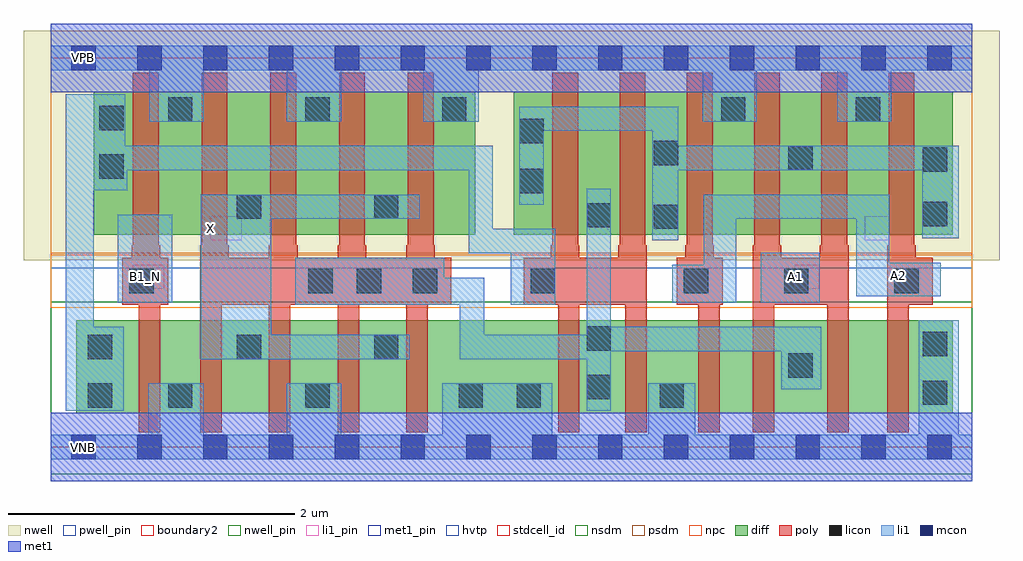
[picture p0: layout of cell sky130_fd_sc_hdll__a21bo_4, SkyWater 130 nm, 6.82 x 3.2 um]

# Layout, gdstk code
import gdstk
lib = gdstk.Library(unit=1e-6, precision=1e-09)
def R(c, l, rs):  # rectangles x0, y0, x1, y1
    for r in rs: c.add(gdstk.rectangle(r[:2], r[2:], *l))
def A(c, l, x, y, w, h, nx, ny, dx, dy):  # array of equal rectangles
    R(c, l, [(x+i*dx, y+j*dy, x+i*dx+w, y+j*dy+h) for i in range(nx) for j in range(ny)])
def P(c, l, *ps):  # polygons
    for p in ps: c.add(gdstk.Polygon(p, *l))
nwell_pin = (64, 16)
nwell = (64, 20)
diff = (65, 20)
poly = (66, 20)
licon = (66, 44)
li1_pin = (67, 16)
li1 = (67, 20)
mcon = (67, 44)
met1_pin = (68, 16)
met1 = (68, 20)
hvtp = (78, 44)
stdcell_id = (81, 4)
nsdm = (93, 44)
psdm = (94, 20)
npc = (95, 20)
pwell_pin = (122, 16)
boundary2 = (236, 0)

sky130_fd_sc_hdll__a21bo = lib.new_cell('sky130_fd_sc_hdll__a21bo_4')
R(sky130_fd_sc_hdll__a21bo, nwell_pin, [(0.145,2.635,0.315,2.805)])
R(sky130_fd_sc_hdll__a21bo, nwell, [(-0.19,1.305,6.63,2.91)])
R(sky130_fd_sc_hdll__a21bo, diff, [(0.18,0.235,6.305,0.885), (0.3,1.485,2.965,2.485), (3.235,1.485,6.305,2.485)])
P(sky130_fd_sc_hdll__a21bo, poly, [(0.82,1.325),(0.765,1.325),(0.765,1.41),(0.755,1.41),(0.755,2.615),(0.575,2.615),(0.575,1.41),(0.565,1.41),(0.565,1.325),(0.5,1.325),(0.5,0.995),(0.615,0.995),(0.615,0.105),(0.765,0.105),(0.765,0.995),(0.82,0.995)],
  [(2.8,1.325),(2.685,1.325),(2.685,1.41),(2.675,1.41),(2.675,2.615),(2.495,2.615),(2.495,1.41),(2.485,1.41),(2.485,1.325),(2.205,1.325),(2.205,1.41),(2.195,1.41),(2.195,2.615),(2.015,2.615),(2.015,1.41),(2.005,1.41),(2.005,1.325),(1.725,1.325),(1.725,1.41),(1.715,1.41),(1.715,2.615),(1.535,2.615),(1.535,1.41),(1.525,1.41),(1.525,1.325),(1.245,1.325),(1.245,1.41),(1.235,1.41),(1.235,2.615),(1.055,2.615),(1.055,1.41),(1.045,1.41),(1.045,0.105),(1.195,0.105),(1.195,0.995),(1.525,0.995),(1.525,0.105),(1.675,0.105),(1.675,0.995),(2.005,0.995),(2.005,0.105),(2.155,0.105),(2.155,0.995),(2.485,0.995),(2.485,0.105),(2.635,0.105),(2.635,0.995),(2.8,0.995)],
  [(4.165,1.41),(4.155,1.41),(4.155,2.615),(3.975,2.615),(3.975,1.41),(3.965,1.41),(3.965,1.325),(3.695,1.325),(3.695,1.41),(3.685,1.41),(3.685,2.615),(3.505,2.615),(3.505,1.41),(3.495,1.41),(3.495,1.325),(3.305,1.325),(3.305,0.995),(3.545,0.995),(3.545,0.105),(3.695,0.105),(3.695,0.995),(4.015,0.995),(4.015,0.105),(4.165,0.105)],
  [(4.695,1.325),(4.635,1.325),(4.635,1.41),(4.625,1.41),(4.625,2.615),(4.445,2.615),(4.445,1.41),(4.435,1.41),(4.435,1.325),(4.375,1.325),(4.375,0.995),(4.525,0.995),(4.525,0.105),(4.675,0.105),(4.675,0.995),(4.695,0.995)],
  [(5.575,1.41),(5.565,1.41),(5.565,2.615),(5.385,2.615),(5.385,1.41),(5.375,1.41),(5.375,1.325),(5.105,1.325),(5.105,1.41),(5.095,1.41),(5.095,2.615),(4.915,2.615),(4.915,1.41),(4.905,1.41),(4.905,0.105),(5.055,0.105),(5.055,0.995),(5.425,0.995),(5.425,0.105),(5.575,0.105)],
  [(6.165,1.325),(6.045,1.325),(6.045,1.41),(6.035,1.41),(6.035,2.615),(5.855,2.615),(5.855,1.41),(5.845,1.41),(5.845,0.105),(5.995,0.105),(5.995,0.995),(6.165,0.995)])
R(sky130_fd_sc_hdll__a21bo, licon, [(0.26,0.275,0.43,0.445), (0.82,0.275,0.99,0.445), (1.78,0.275,1.95,0.445), (2.85,0.275,3.02,0.445), (3.255,0.275,3.425,0.445), (4.255,0.275,4.425,0.445), (6.095,0.295,6.265,0.465), (3.745,0.335,3.915,0.505), (5.155,0.485,5.325,0.655), (0.26,0.615,0.43,0.785), (1.3,0.615,1.47,0.785), (2.26,0.615,2.43,0.785), (6.095,0.635,6.265,0.805), (3.745,0.675,3.915,0.845), (0.55,1.075,0.72,1.245), (1.8,1.075,1.97,1.245), (2.14,1.075,2.31,1.245), (2.53,1.075,2.7,1.245), (3.355,1.075,3.525,1.245), (4.425,1.075,4.595,1.245), (5.125,1.075,5.295,1.245), (5.895,1.075,6.065,1.245), (4.215,1.525,4.385,1.695), (3.745,1.535,3.915,1.705), (6.095,1.545,6.265,1.715), (1.3,1.595,1.47,1.765), (2.26,1.595,2.43,1.765), (3.275,1.775,3.445,1.945), (0.34,1.875,0.51,2.045), (6.095,1.925,6.265,2.095), (5.155,1.935,5.325,2.105), (4.215,1.97,4.385,2.14), (3.275,2.125,3.445,2.295), (0.34,2.215,0.51,2.385), (0.82,2.275,0.99,2.445), (1.78,2.275,1.95,2.445), (2.735,2.275,2.905,2.445), (4.685,2.275,4.855,2.445), (5.625,2.275,5.795,2.445)])
R(sky130_fd_sc_hdll__a21bo, li1_pin, [(0.575,1.105,0.795,1.275), (5.2,1.105,5.37,1.275), (1.115,1.445,1.335,1.615), (5.69,1.445,5.86,1.615)])
R(sky130_fd_sc_hdll__a21bo, li1, [(0.47,1.01,0.85,1.625), (4.96,1.01,5.375,1.36)])
P(sky130_fd_sc_hdll__a21bo, li1, [(6.44,0.085),(6.345,0.085),(6.345,0.885),(6.065,0.885),(6.065,0.085),(4.505,0.085),(4.505,0.445),(4.175,0.445),(4.175,0.085),(3.505,0.085),(3.505,0.445),(2.735,0.445),(2.735,0.085),(2.03,0.085),(2.03,0.445),(1.65,0.445),(1.65,0.085),(1.07,0.085),(1.07,0.445),(0.68,0.445),(0.68,0.085),(0,0.085),(0,-0.085),(6.44,-0.085)],
  [(6.44,2.805),(0,2.805),(0,2.635),(0.69,2.635),(0.69,2.275),(1.07,2.275),(1.07,2.635),(1.65,2.635),(1.65,2.275),(2.03,2.275),(2.03,2.635),(2.605,2.635),(2.605,2.275),(2.99,2.275),(2.99,2.635),(4.555,2.635),(4.555,2.275),(4.935,2.275),(4.935,2.635),(5.495,2.635),(5.495,2.275),(5.875,2.275),(5.875,2.635),(6.44,2.635)],
  [(2.58,1.765),(1.05,1.765),(1.05,0.615),(2.51,0.615),(2.51,0.785),(1.54,0.785),(1.54,1.595),(2.58,1.595)],
  [(3.525,1.525),(3.09,1.525),(3.09,2.105),(0.52,2.105),(0.52,2.465),(0.105,2.465),(0.105,0.255),(0.51,0.255),(0.51,0.84),(0.3,0.84),(0.3,1.795),(0.535,1.795),(0.535,1.935),(2.92,1.935),(2.92,1.355),(3.215,1.355),(3.215,0.995),(3.525,0.995)],
  [(5.385,0.84),(3.915,0.84),(3.915,1.805),(3.745,1.805),(3.745,0.785),(3.03,0.785),(3.03,1.185),(2.75,1.185),(2.75,1.325),(1.71,1.325),(1.71,0.995),(2.86,0.995),(2.86,0.615),(3.745,0.615),(3.745,0.255),(3.915,0.255),(3.915,0.67),(5.105,0.67),(5.105,0.405),(5.385,0.405)],
  [(6.22,1.29),(5.86,1.29),(5.86,1.765),(4.565,1.765),(4.565,1.275),(4.345,1.275),(4.345,1.01),(4.79,1.01),(4.79,1.595),(5.63,1.595),(5.63,1.055),(6.22,1.055)],
  [(6.345,2.105),(4.385,2.105),(4.385,2.38),(3.275,2.38),(3.275,1.695),(3.445,1.695),(3.445,2.21),(4.205,2.21),(4.205,1.445),(4.385,1.445),(4.385,1.935),(6.09,1.935),(6.09,1.46),(6.345,1.46)])
A(sky130_fd_sc_hdll__a21bo, mcon, 0.145, -0.085, 0.17, 0.17, 14, 2, 0.46, 2.72)
R(sky130_fd_sc_hdll__a21bo, met1_pin, [(0.145,-0.085,0.315,0.085), (0.145,2.635,0.315,2.805)])
R(sky130_fd_sc_hdll__a21bo, met1, [(0,-0.24,6.44,0.24), (0,2.48,6.44,2.96)])
R(sky130_fd_sc_hdll__a21bo, hvtp, [(0,1.25,6.44,2.72)])
R(sky130_fd_sc_hdll__a21bo, stdcell_id, [(0,0,6.44,2.72)])
R(sky130_fd_sc_hdll__a21bo, nsdm, [(0,-0.19,6.44,1.015)])
R(sky130_fd_sc_hdll__a21bo, psdm, [(0,1.355,6.44,2.91)])
R(sky130_fd_sc_hdll__a21bo, npc, [(0,0.975,6.44,1.345)])
R(sky130_fd_sc_hdll__a21bo, pwell_pin, [(0.145,-0.085,0.315,0.085)])
R(sky130_fd_sc_hdll__a21bo, boundary2, [(0,0,6.44,2.72)])
sky130_fd_sc_hdll__a21bo.add(gdstk.Label('B1_N', (0.66,1.19), layer=67, texttype=5))
sky130_fd_sc_hdll__a21bo.add(gdstk.Label('A2', (5.925,1.2), layer=67, texttype=5))
sky130_fd_sc_hdll__a21bo.add(gdstk.Label('A1', (5.205,1.19), layer=67, texttype=5))
sky130_fd_sc_hdll__a21bo.add(gdstk.Label('X', (1.12,1.53), layer=67, texttype=5))
sky130_fd_sc_hdll__a21bo.add(gdstk.Label('VNB', (0.23,0), layer=64, texttype=59))
sky130_fd_sc_hdll__a21bo.add(gdstk.Label('VPB', (0.23,2.72), layer=64, texttype=5))
sky130_fd_sc_hdll__a21bo.add(gdstk.Label('VGND', (0.23,0), layer=68, texttype=5))
sky130_fd_sc_hdll__a21bo.add(gdstk.Label('VPWR', (0.23,2.72), layer=68, texttype=5))

lib.write_gds('sky130_fd_sc_hdll__a21bo_4.gds')
